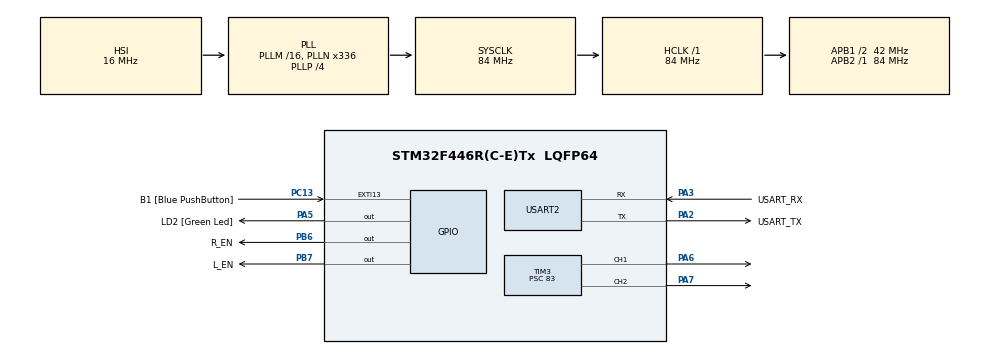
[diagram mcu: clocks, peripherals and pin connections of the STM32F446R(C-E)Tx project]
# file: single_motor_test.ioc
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Mcu.Family=STM32F4
Mcu.Name=STM32F446R(C-E)Tx
Mcu.Package=LQFP64
NVIC.PriorityGroup=NVIC_PRIORITYGROUP_0
PA13.GPIO_Label=TMS
PA13.Mode=Serial_Wire
PA13.Signal=SYS_JTMS-SWDIO
PA14.GPIO_Label=TCK
PA14.Mode=Serial_Wire
PA14.Signal=SYS_JTCK-SWCLK
PA2.GPIO_Label=USART_TX
PA2.Mode=Asynchronous
PA2.Signal=USART2_TX
PA3.GPIO_Label=USART_RX
PA3.Mode=Asynchronous
PA3.Signal=USART2_RX
PA5.GPIO_Label=LD2 [Green Led]
PA5.Signal=GPIO_Output
PA6.Signal=S_TIM3_CH1
PA7.Signal=S_TIM3_CH2
PB3.GPIO_Label=SWO
PB3.Signal=SYS_JTDO-SWO
PB6.GPIO_Label=R_EN
PB6.Signal=GPIO_Output
PB7.GPIO_Label=L_EN
PB7.Signal=GPIO_Output
PC13.GPIO_Label=B1 [Blue PushButton]
PC13.GPIO_ModeDefaultEXTI=GPIO_MODE_IT_FALLING
PC13.Signal=GPXTI13
PC14-OSC32_IN.Mode=LSE-External-Oscillator
PC14-OSC32_IN.Signal=RCC_OSC32_IN
PC15-OSC32_OUT.Mode=LSE-External-Oscillator
PC15-OSC32_OUT.Signal=RCC_OSC32_OUT
PH0-OSC_IN.Mode=HSE-External-Oscillator
PH0-OSC_IN.Signal=RCC_OSC_IN
PH1-OSC_OUT.Mode=HSE-External-Oscillator
PH1-OSC_OUT.Signal=RCC_OSC_OUT
ProjectManager.HeapSize=0x200
ProjectManager.StackSize=0x400
ProjectManager.TargetToolchain=STM32CubeIDE
RCC.48MHZClocksFreq_Value=84000000
RCC.AHBFreq_Value=84000000
RCC.APB1CLKDivider=RCC_HCLK_DIV2
RCC.APB1Freq_Value=42000000
RCC.APB1TimFreq_Value=84000000
RCC.APB2Freq_Value=84000000
RCC.APB2TimFreq_Value=84000000
RCC.CortexFreq_Value=84000000
RCC.FLatency-AdvancedSettings=FLASH_LATENCY_2
RCC.HCLKFreq_Value=84000000
RCC.HSE_VALUE=8000000
RCC.HSI_VALUE=16000000
RCC.PLLN=336
RCC.PLLP=RCC_PLLP_DIV4
RCC.SYSCLKFreq_VALUE=84000000
RCC.SYSCLKSource=RCC_SYSCLKSOURCE_PLLCLK
RCC.USBFreq_Value=168000000
RCC.VCOOutputFreq_Value=336000000
SH.S_TIM3_CH1.0=TIM3_CH1,PWM Generation1 CH1
SH.S_TIM3_CH2.0=TIM3_CH2,PWM Generation2 CH2
TIM3.Channel-PWM\ Generation1\ CH1=TIM_CHANNEL_1
TIM3.Channel-PWM\ Generation2\ CH2=TIM_CHANNEL_2
TIM3.Period=999
TIM3.Prescaler=83
USART2.VirtualMode=VM_ASYNC
board=NUCLEO-F446RE

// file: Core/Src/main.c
/* USER CODE BEGIN Header */
/**
  ******************************************************************************
  * @file           : main.c
  * @brief          : Main program body
  ******************************************************************************
  * @attention
  *
  * Copyright (c) 2026 STMicroelectronics.
  * All rights reserved.
  *
  * This software is licensed under terms that can be found in the LICENSE file
  * in the root directory of this software component.
  * If no LICENSE file comes with this software, it is provided AS-IS.
  *
  ******************************************************************************
  */
/* USER CODE END Header */
#include "main.h"

TIM_HandleTypeDef htim3;

UART_HandleTypeDef huart2;

void SystemClock_Config(void);
static void MX_GPIO_Init(void);
static void MX_USART2_UART_Init(void);
static void MX_TIM3_Init(void);

int main(void)
{

  /* MCU Configuration--------------------------------------------------------*/

  /* Reset of all peripherals, Initializes the Flash interface and the Systick. */
  HAL_Init();

  /* Configure the system clock */
  SystemClock_Config();

  /* Initialize all configured peripherals */
  MX_GPIO_Init();
  MX_USART2_UART_Init();
  MX_TIM3_Init();
  /* USER CODE BEGIN 2 */

  // Enable the BTS7960 motor driver
  HAL_GPIO_WritePin(R_EN_GPIO_Port, R_EN_Pin, GPIO_PIN_SET);  // R_EN HIGH
  HAL_GPIO_WritePin(L_EN_GPIO_Port, L_EN_Pin, GPIO_PIN_SET);  // L_EN HIGH

  // Start PWM on both channels (both start at 0 duty cycle = motor stopped)
  HAL_TIM_PWM_Start(&htim3, TIM_CHANNEL_1);  // RPWM (forward)
  HAL_TIM_PWM_Start(&htim3, TIM_CHANNEL_2);  // LPWM (reverse)

  /* USER CODE END 2 */

  /* Infinite loop */
  /* USER CODE BEGIN WHILE */
  while (1)
  {

	    /* USER CODE BEGIN WHILE */

	    // === TEST 1: Spin forward, ramp up speed ===
	    __HAL_TIM_SET_COMPARE(&htim3, TIM_CHANNEL_2, 0);    // LPWM off (no reverse)
	    for (int i = 0; i <= 700; i += 10)
	    {
	        __HAL_TIM_SET_COMPARE(&htim3, TIM_CHANNEL_1, i);  // RPWM ramp up
	        HAL_Delay(30);
	    }
	    HAL_Delay(2000);  // Hold at speed for 2 seconds

	    // === TEST 2: Slow down to stop ===
	    for (int i = 700; i >= 0; i -= 10)
	    {
	        __HAL_TIM_SET_COMPARE(&htim3, TIM_CHANNEL_1, i);  // RPWM ramp down
	        HAL_Delay(30);
	    }
	    HAL_Delay(1000);  // Pause 1 second at stop

	    // === TEST 3: Spin reverse, ramp up speed ===
	    __HAL_TIM_SET_COMPARE(&htim3, TIM_CHANNEL_1, 0);    // RPWM off (no forward)
	    for (int i = 0; i <= 700; i += 10)
	    {
	        __HAL_TIM_SET_COMPARE(&htim3, TIM_CHANNEL_2, i);  // LPWM ramp up
	        HAL_Delay(30);
	    }
	    HAL_Delay(2000);  // Hold at speed for 2 seconds

	    // === TEST 4: Slow down to stop ===
	    for (int i = 700; i >= 0; i -= 10)
	    {
	        __HAL_TIM_SET_COMPARE(&htim3, TIM_CHANNEL_2, i);  // LPWM ramp down
	        HAL_Delay(30);
	    }
	    HAL_Delay(1000);  // Pause 1 second before repeating

    /* USER CODE END WHILE */

  }
}

void SystemClock_Config(void)
{
  RCC_OscInitTypeDef RCC_OscInitStruct = {0};
  RCC_ClkInitTypeDef RCC_ClkInitStruct = {0};

  /** Configure the main internal regulator output voltage
  */
  __HAL_RCC_PWR_CLK_ENABLE();
  __HAL_PWR_VOLTAGESCALING_CONFIG(PWR_REGULATOR_VOLTAGE_SCALE3);

  /** Initializes the RCC Oscillators according to the specified parameters
  * in the RCC_OscInitTypeDef structure.
  */
  RCC_OscInitStruct.OscillatorType = RCC_OSCILLATORTYPE_HSI;
  RCC_OscInitStruct.HSIState = RCC_HSI_ON;
  RCC_OscInitStruct.HSICalibrationValue = RCC_HSICALIBRATION_DEFAULT;
  RCC_OscInitStruct.PLL.PLLState = RCC_PLL_ON;
  RCC_OscInitStruct.PLL.PLLSource = RCC_PLLSOURCE_HSI;
  RCC_OscInitStruct.PLL.PLLM = 16;
  RCC_OscInitStruct.PLL.PLLN = 336;
  RCC_OscInitStruct.PLL.PLLP = RCC_PLLP_DIV4;
  RCC_OscInitStruct.PLL.PLLQ = 2;
  RCC_OscInitStruct.PLL.PLLR = 2;
  if (HAL_RCC_OscConfig(&RCC_OscInitStruct) != HAL_OK)
  {
    Error_Handler();
  }

  /** Initializes the CPU, AHB and APB buses clocks
  */
  RCC_ClkInitStruct.ClockType = RCC_CLOCKTYPE_HCLK|RCC_CLOCKTYPE_SYSCLK
                              |RCC_CLOCKTYPE_PCLK1|RCC_CLOCKTYPE_PCLK2;
  RCC_ClkInitStruct.SYSCLKSource = RCC_SYSCLKSOURCE_PLLCLK;
  RCC_ClkInitStruct.AHBCLKDivider = RCC_SYSCLK_DIV1;
  RCC_ClkInitStruct.APB1CLKDivider = RCC_HCLK_DIV2;
  RCC_ClkInitStruct.APB2CLKDivider = RCC_HCLK_DIV1;

  if (HAL_RCC_ClockConfig(&RCC_ClkInitStruct, FLASH_LATENCY_2) != HAL_OK)
  {
    Error_Handler();
  }
}

static void MX_TIM3_Init(void)
{

  TIM_MasterConfigTypeDef sMasterConfig = {0};
  TIM_OC_InitTypeDef sConfigOC = {0};

  htim3.Instance = TIM3;
  htim3.Init.Prescaler = 83;
  htim3.Init.CounterMode = TIM_COUNTERMODE_UP;
  htim3.Init.Period = 999;
  htim3.Init.ClockDivision = TIM_CLOCKDIVISION_DIV1;
  htim3.Init.AutoReloadPreload = TIM_AUTORELOAD_PRELOAD_DISABLE;
  if (HAL_TIM_PWM_Init(&htim3) != HAL_OK)
  {
    Error_Handler();
  }
  sMasterConfig.MasterOutputTrigger = TIM_TRGO_RESET;
  sMasterConfig.MasterSlaveMode = TIM_MASTERSLAVEMODE_DISABLE;
  if (HAL_TIMEx_MasterConfigSynchronization(&htim3, &sMasterConfig) != HAL_OK)
  {
    Error_Handler();
  }
  sConfigOC.OCMode = TIM_OCMODE_PWM1;
  sConfigOC.Pulse = 0;
  sConfigOC.OCPolarity = TIM_OCPOLARITY_HIGH;
  sConfigOC.OCFastMode = TIM_OCFAST_DISABLE;
  if (HAL_TIM_PWM_ConfigChannel(&htim3, &sConfigOC, TIM_CHANNEL_1) != HAL_OK)
  {
    Error_Handler();
  }
  if (HAL_TIM_PWM_ConfigChannel(&htim3, &sConfigOC, TIM_CHANNEL_2) != HAL_OK)
  {
    Error_Handler();
  }
  HAL_TIM_MspPostInit(&htim3);

}

static void MX_USART2_UART_Init(void)
{

  huart2.Instance = USART2;
  huart2.Init.BaudRate = 115200;
  huart2.Init.WordLength = UART_WORDLENGTH_8B;
  huart2.Init.StopBits = UART_STOPBITS_1;
  huart2.Init.Parity = UART_PARITY_NONE;
  huart2.Init.Mode = UART_MODE_TX_RX;
  huart2.Init.HwFlowCtl = UART_HWCONTROL_NONE;
  huart2.Init.OverSampling = UART_OVERSAMPLING_16;
  if (HAL_UART_Init(&huart2) != HAL_OK)
  {
    Error_Handler();
  }

}

static void MX_GPIO_Init(void)
{
  GPIO_InitTypeDef GPIO_InitStruct = {0};

  /* GPIO Ports Clock Enable */
  __HAL_RCC_GPIOC_CLK_ENABLE();
  __HAL_RCC_GPIOH_CLK_ENABLE();
  __HAL_RCC_GPIOA_CLK_ENABLE();
  __HAL_RCC_GPIOB_CLK_ENABLE();

  /*Configure GPIO pin Output Level */
  HAL_GPIO_WritePin(LD2_GPIO_Port, LD2_Pin, GPIO_PIN_RESET);

  /*Configure GPIO pin Output Level */
  HAL_GPIO_WritePin(GPIOB, R_EN_Pin|L_EN_Pin, GPIO_PIN_RESET);

  /*Configure GPIO pin : B1_Pin */
  GPIO_InitStruct.Pin = B1_Pin;
  GPIO_InitStruct.Mode = GPIO_MODE_IT_FALLING;
  GPIO_InitStruct.Pull = GPIO_NOPULL;
  HAL_GPIO_Init(B1_GPIO_Port, &GPIO_InitStruct);

  /*Configure GPIO pin : LD2_Pin */
  GPIO_InitStruct.Pin = LD2_Pin;
  GPIO_InitStruct.Mode = GPIO_MODE_OUTPUT_PP;
  GPIO_InitStruct.Pull = GPIO_NOPULL;
  GPIO_InitStruct.Speed = GPIO_SPEED_FREQ_LOW;
  HAL_GPIO_Init(LD2_GPIO_Port, &GPIO_InitStruct);

  /*Configure GPIO pins : R_EN_Pin L_EN_Pin */
  GPIO_InitStruct.Pin = R_EN_Pin|L_EN_Pin;
  GPIO_InitStruct.Mode = GPIO_MODE_OUTPUT_PP;
  GPIO_InitStruct.Pull = GPIO_NOPULL;
  GPIO_InitStruct.Speed = GPIO_SPEED_FREQ_LOW;
  HAL_GPIO_Init(GPIOB, &GPIO_InitStruct);

}

void Error_Handler(void)
{
  __disable_irq();
  while (1)
  {
  }
}
